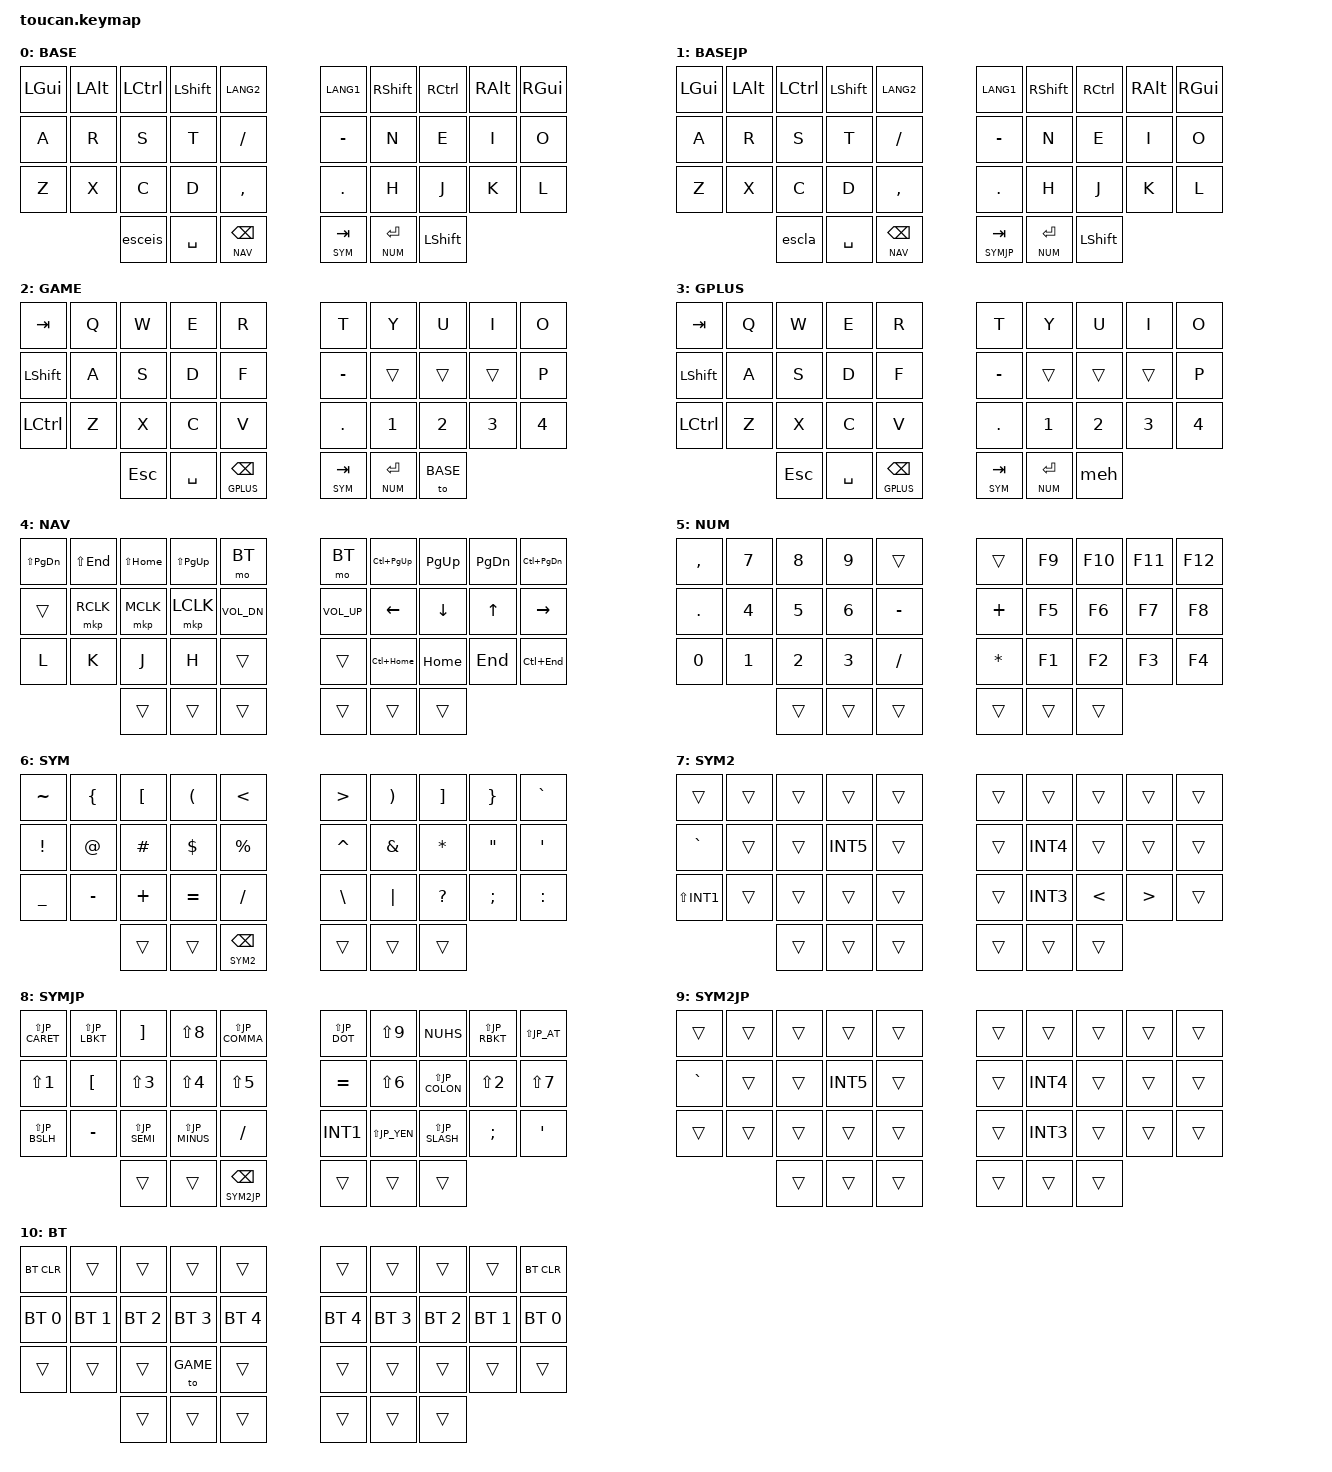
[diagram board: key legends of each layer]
#include <behaviors.dtsi>
#include <dt-bindings/zmk/keys.h>
#include <dt-bindings/zmk/bt.h>
#include <dt-bindings/zmk/outputs.h>
#include <dt-bindings/zmk/pointing.h>

#define BASE   0
#define BASEJP 1
#define GAME   2
#define GPLUS  3
#define NAV    4
#define NUM    5
#define SYM    6
#define SYM2   7
#define SYMJP  8
#define SYM2JP 9
#define BT    10

#define JP_ZKHK  GRAVE        // Zenkaku ↔ Hankaku ↔ Kanji (半角 ↔ 全角 ↔ 漢字)
#define JP_MINUS MINUS        // -
#define JP_CARET EQUAL        // ^
#define JP_YEN   INT3         // ¥
#define JP_AT    LBKT         // @
#define JP_LBKT  RBKT         // [
#define JP_EISU  CAPS         // Eisū (英数)
#define JP_SEMI  SEMI         // ;
#define JP_COLON SQT          // :
#define JP_RBKT  NUHS         // ]
#define JP_COMMA COMMA        // ,
#define JP_DOT   DOT          // .
#define JP_SLASH SLASH        // /
#define JP_BSLH  INT1         // (backslash)
#define JP_MHEN  INT5         // Muhenkan (無変換)
#define JP_HENK  INT4         // Henkan (変換)
#define JP_KANA  INT2         // Katakana ↔ Hiragana ↔ Rōmaji (カタカナ ↔ ひらがな ↔ ローマ字)
#define JP_EXCL  LS(N1)       // !
#define JP_DQT   LS(N2)       // "
#define JP_HASH  LS(N3)       // #
#define JP_DLLR  LS(N4)       // $
#define JP_PRCNT LS(N5)       // %
#define JP_AMPS  LS(N6)       // &
#define JP_SQT   LS(N7)       // '
#define JP_LPAR  LS(N8)       // (
#define JP_RPAR  LS(N9)       // )
#define JP_EQUAL LS(JP_MINUS) // =
#define JP_TILDE LS(JP_CARET) // ~
#define JP_PIPE  LS(JP_YEN)   // |
#define JP_GRAVE LS(JP_AT)    // `
#define JP_LBRC  LS(JP_LBKT)  // {
#define JP_CAPS  LS(JP_EISU)  // Caps Lock
#define JP_PLUS  LS(JP_SEMI)  // +
#define JP_ASTRK LS(JP_COLON) // *
#define JP_RBRC  LS(JP_RBKT)  // }
#define JP_LT    LS(JP_COMMA) // <
#define JP_RT    LS(JP_DOT)   // >
#define JP_QMARK LS(JP_SLASH) // ?
#define JP_UNDER LS(JP_BSLH)  // _

#define COMBO(NAME, BIND, LAYER, TIMEOUT, KEYPOS) \
  combo_##NAME { \
    layers = <LAYER>; \
    timeout-ms = <TIMEOUT>; \
    key-positions = <KEYPOS>; \
    bindings = <BIND>; \
  };

&lt {
    flavor = "tap-preferred";
    tapping-term-ms = <200>;
    quick-tap-ms = <0>;
};

&sl {
  release-after-ms = <2000>;
};

/ {
    behaviors {
        hml: homerow_mods_left {
            compatible = "zmk,behavior-hold-tap";
            #binding-cells = <2>;
            tapping-term-ms = <240>;
            quick_tap_ms = <0>;
            flavor = "balanced";
            bindings = <&kp>, <&kp>;
            hold-trigger-key-positions = <4 5 6 7 12 13 14 15 18 19>;
            hold-trigger-on-release;
        };
        hmr: homerow_mods_right {
            compatible = "zmk,behavior-hold-tap";
            #binding-cells = <2>;
            tapping-term-ms = <240>;
            quick_tap_ms = <0>;
            flavor = "balanced";
            bindings = <&kp>, <&kp>;
            hold-trigger-key-positions = <0 1 2 3 8 9 10 11 16 17>;
            hold-trigger-on-release;
        };
    };

    
     macros {
             meh: meh {
         	    label = "meh";
         	    compatible = "zmk,behavior-macro";
         	    #binding-cells = <0>;
         	    bindings
         	    	= <&macro_press   &sk LS(LC(LALT))>
         		, <&macro_pause_for_release>
         		, <&macro_release &sk LS(LC(LALT))>
         		;
             };
 
             hyper: hyper {
         	    label = "hyper";
         	    compatible = "zmk,behavior-macro";
         	    #binding-cells = <0>;
         	    bindings
         	    	= <&macro_press   &sk LS(LA(LC(LGUI)))>
         		, <&macro_pause_for_release>
         		, <&macro_release &sk LS(LA(LC(LGUI)))>
         		;
             };

             // macro tap esc hold esc and lang2
             escla: escla {
               label = "escla";
               compatible = "zmk,behavior-macro";
               #binding-cells = <0>;
               bindings
                = <&macro_tap &kp ESC>
                , <&macro_tap &kp LANG2>
                ;
             };

             // macro tap esc hold esc and eisu
             esceis: esceis {
               label = "esceis";
               compatible = "zmk,behavior-macro";
               #binding-cells = <0>;
               bindings
                = <&macro_tap &kp ESC>
                , <&macro_tap &kp JP_EISU>
                ;
             };
             // macro for Ctrl + Shift
             mcs: mcs {
               label = "mcs";
               compatible = "zmk,behavior-macro";
               #binding-cells = <0>;
               bindings
                = <&macro_press &sk LS(LCTRL)>
                , <&macro_pause_for_release>
                , <&macro_release &sk LS(LCTRL)>
                ;
             };
             
             // macro for Ctrl + Alt
             mca: mca {
               label = "mca";
               compatible = "zmk,behavior-macro";
               #binding-cells = <0>;
               bindings
                = <&macro_press &sk LA(LCTRL)>
                , <&macro_pause_for_release>
               , <&macro_release &sk LA(LCTRL)>
                ;
             };

             // macro for Ctrl + Gui
             mcg: mcg {
               label = "mcg";
               compatible = "zmk,behavior-macro";
               #binding-cells = <0>;
               bindings
                = <&macro_press &sk LG(LCTRL)>
                , <&macro_pause_for_release>
                , <&macro_release &sk LG(LCTRL)>
                ;
             };

             // macro for Shift + Alt

             msa: msa {
               label = "msa";
               compatible = "zmk,behavior-macro";
               #binding-cells = <0>;
               bindings
                = <&macro_press &sk LA(LSHFT)>
                , <&macro_pause_for_release>
                , <&macro_release &sk LA(LSHFT)>
                ;
             };

             // macro for Shift + Gui

             msg: msg {
               label = "msg";
               compatible = "zmk,behavior-macro";
               #binding-cells = <0>;
               bindings
                = <&macro_press &sk LG(LSHFT)>
                , <&macro_pause_for_release>
                , <&macro_release &sk LG(LSHFT)>
                ;
             };

             yo: yo {
               label = "yo";
               compatible = "zmk,behavior-macro";
               #binding-cells = <0>;
               bindings
                = <&macro_tap &kp Y>
                , <&macro_tap &kp O>
                ;
             };

             ou: ou {
               label = "ou";
               compatible = "zmk,behavior-macro";
               #binding-cells = <0>;
               bindings
                = <&macro_tap &kp O>
                , <&macro_tap &kp U>
                ;
             };

             you: you {
               label = "you";
               compatible = "zmk,behavior-macro";
               #binding-cells = <0>;
               bindings
                = <&macro_tap &kp Y>
                , <&macro_tap &kp O>
                , <&macro_tap &kp U>
                ;
             };

             yu: yu {
               label = "yu";
               compatible = "zmk,behavior-macro";
               #binding-cells = <0>;
               bindings
                = <&macro_tap &kp Y>
                , <&macro_tap &kp U>
                ;
             };

             yuu: yuu {
               label = "yuu";
               compatible = "zmk,behavior-macro";
               #binding-cells = <0>;
               bindings
                = <&macro_tap &kp Y>
                , <&macro_tap &kp U>
                , <&macro_tap &kp U>
                ;
             };
     };

     combos {
       compatible = "zmk,combos";

       COMBO(yu,        &yu,            0 1, 45, 10 11)
       COMBO(yuu,       &yuu,           0 1, 35, 10 11 12)
       COMBO(hyper,     &hyper,         0 1, 35, 10 11 12 13)
       COMBO(Q,         &kp Q,          0 1, 55, 10 20)
       COMBO(F,         &kp F,          0 1, 45, 11 12)
       COMBO(W,         &kp W,          0 1, 55, 11 21)
       COMBO(P,         &kp P,          0 1, 35, 12 13)
       COMBO(G,         &kp G,          0 1, 50, 13 23)
       COMBO(ESC,       &kp ESC,        0 1, 45, 20 21)
       COMBO(BASEJP,    &to BASEJP,       0, 35, 20 21 22 23)
       COMBO(JP_CAPS,   &kp JP_CAPS,      1, 45, 20 23)
       COMBO(B,         &kp B,          0 1, 60, 21 22)
       COMBO(V,         &kp V,          0 1, 60, 22 23)

       COMBO(F17,       &kp F17,          5, 50,  6 16)
       COMBO(F18,       &kp F18,          5, 50,  7 17)
       COMBO(F19,       &kp F19,          5, 50,  8 18)
       COMBO(F20,       &kp F20,          5, 50,  9 19)
       COMBO(U,         &kp U,          0 1, 35, 16 17)
       COMBO(mcs,       &mcs,             5, 45, 16 17)        // stickey key Shift+Ctrl in num_layer
       COMBO(ou,        &ou,            0 1, 55, 16 17 18)
       COMBO(rmeh,      &meh,           0 1, 40, 16 17 18 34)  // stickey key Shift+Ctrl+Alt
       // COMBO(meh,       &meh,           0 1, 35, 16 17 18 19)  // stickey key Shift+Ctrl+Alt
       COMBO(SKCS,      &mcs,           0 1, 55, 16 17 34)     // stickey key Shift+Ctrl
       COMBO(F13,       &kp F13,          5, 50, 16 26)
       COMBO(SKSH,      &sk LSHFT,      0 1, 55, 16 34)        // stickey key Shift
       COMBO(SKSA,      &msa,           0 1, 55, 16 18 34)     // stickey key Shift+Alt
       COMBO(SKSG,      &msg,           0 1, 55, 16 19 34)     // stickey key Shift+Gui
       COMBO(Y,         &kp Y,          0 1, 65, 17 18)
       COMBO(you,       &you,           0 1, 55, 17 18 19)
       COMBO(SKCA,      &mca,           0 1, 55, 17 18 34)     // stickey key Ctrl+Alt
       COMBO(SKCG,      &mcg,           0 1, 55, 17 19 34)     // stickey key Ctrl+Gui
       COMBO(F14,       &kp F14,          5, 50, 17 27)
       COMBO(SKCT,      &sk LCTRL,      0 1, 45, 17 34)        // stickey key Ctrl
       COMBO(yo,        &yo,            0 1, 55, 18 19)
       COMBO(F15,       &kp F15,          5, 50, 18 28)
       COMBO(SKAL,      &sk LALT,       0 1, 50, 18 34)        // stickey key Alt
       COMBO(F16,       &kp F16,          5, 50, 19 29)
       COMBO(SKGU,      &sk LGUI,       0 1, 50, 19 34)        // stickey key Gui
       COMBO(M,         &kp M,          0 1, 50, 26 27)
       COMBO(BASE,      &to BASE,         1, 35, 26 27 28 29)
       COMBO(DEL,       &kp DEL,        0 1, 55, 26 29)
       COMBO(caps_word, &caps_word,     0 1, 55, 28 29)

       COMBO(bothmeh,   &meh,           0 1, 55, 31 34)
       COMBO(JP_ZKHK,   &kp JP_ZKHK,    0 1, 55, 32 33)

     };

  keymap {
    compatible = "zmk,keymap";
    // ╭─────────────┬─────────────┬─────────────┬──────────────┬────────────╮   ╭─────────────┬──────────────┬────────────┬─────────────┬─────────────┐
    //    0             1             2             3              4                5             6              7            8             9
    // ├─────────────┼─────────────┼─────────────┼──────────────┬────────────┤   ├─────────────┼──────────────┬────────────┼─────────────┼─────────────┤
    //    10            11            12            13             14               15            16             17           18            19
    // ├─────────────┼─────────────┼─────────────┼──────────────┬────────────┤   ├─────────────┼──────────────┬────────────┼─────────────┼─────────────┤
    //    20            21            22            23             24               25            26             27           28            29
    // ├─────────────┼─────────────┼─────────────┼──────────────┬────────────┤   ├─────────────┼──────────────┬────────────┼─────────────┼─────────────┤
    //                             ╭─────────────┬──────────────┬────────────╮   ╭─────────────┬──────────────┬────────────╮
    //                                30            31             32              33            34             35
    //                             ╰─────────────┴──────────────┴────────────╯   ╰─────────────┴──────────────┴────────────╯


    base_layer {
      display-name = "BASE";
      bindings = <

      // ╭─────────────────┬─────────────────┬─────────────────┬────────────────┬─────────────────╮ ╭─────────────────┬─────────────────┬─────────────────┬────────────────┬─────────────────╮
          &kp LGUI          &kp LALT          &kp LCTRL         &kp LSHFT        &kp LANG2           &kp LANG1         &kp RSHFT         &kp RCTRL         &kp RALT         &kp RGUI
      // ├─────────────────┼─────────────────┼─────────────────┬────────────────┼─────────────────┤ ├─────────────────┼─────────────────┼─────────────────┬────────────────┼─────────────────┤
          &kp A             &kp R             &kp S             &kp T            &kp FSLH            &kp MINUS         &kp N             &kp E             &kp I            &kp O
      // ├─────────────────┼─────────────────┼─────────────────┬────────────────┼─────────────────┤ ├─────────────────┼─────────────────┼─────────────────┬────────────────┼─────────────────┤
          &kp Z             &kp X             &kp C             &kp D            &kp COMMA           &kp DOT           &kp H             &kp J             &kp K            &kp L
      // ├─────────────────┼─────────────────┼─────────────────┬────────────────┼─────────────────┤ ├─────────────────┼─────────────────┼─────────────────┬────────────────┼─────────────────┤
      //                        ╭─────────────────────┬─────────────────────┬─────────────────────╮ ╭─────────────────────┬─────────────────────┬─────────────────────╮
                                 &esceis               &kp SPACE             &lt NAV BSPC            &lt SYM TAB           &lt NUM ENTER         &kp LSHFT
      //                        ╰─────────────────────┴─────────────────────┴─────────────────────╯ ╰─────────────────────┴─────────────────────┴─────────────────────╯
      >;
    };
    basejp_layer {
      display-name = "BASEJP";
      bindings = <

      // ╭─────────────────┬─────────────────┬─────────────────┬────────────────┬─────────────────╮ ╭─────────────────┬─────────────────┬─────────────────┬────────────────┬─────────────────╮
          &kp LGUI          &kp LALT          &kp LCTRL         &kp LSHFT        &kp LANG2           &kp LANG1         &kp RSHFT         &kp RCTRL         &kp RALT         &kp RGUI
      // ├─────────────────┼─────────────────┼─────────────────┬────────────────┼─────────────────┤ ├─────────────────┼─────────────────┼─────────────────┬────────────────┼─────────────────┤
          &kp A             &kp R             &kp S             &kp T            &kp FSLH            &kp MINUS         &kp N             &kp E             &kp I            &kp O
      // ├─────────────────┼─────────────────┼─────────────────┬────────────────┼─────────────────┤ ├─────────────────┼─────────────────┼─────────────────┬────────────────┼─────────────────┤
          &kp Z             &kp X             &kp C             &kp D            &kp COMMA           &kp DOT           &kp H             &kp J             &kp K            &kp L
      // ├─────────────────┼─────────────────┼─────────────────┬────────────────┼─────────────────┤ ├─────────────────┼─────────────────┼─────────────────┬────────────────┼─────────────────┤
      //                        ╭─────────────────────┬─────────────────────┬─────────────────────╮ ╭─────────────────────┬─────────────────────┬─────────────────────╮
                                 &escla                &kp SPACE             &lt NAV BSPC            &lt SYMJP TAB         &lt NUM ENTER         &kp LSHFT
      //                        ╰─────────────────────┴─────────────────────┴─────────────────────╯ ╰─────────────────────┴─────────────────────┴─────────────────────╯
      >;
    };
    game_layer {
      display-name = "GAME";
      bindings = <

      // ╭─────────────────┬─────────────────┬─────────────────┬────────────────┬─────────────────╮ ╭─────────────────┬─────────────────┬─────────────────┬────────────────┬─────────────────╮
          &kp TAB           &kp Q             &kp W             &kp E            &kp R               &kp T             &kp Y             &kp U             &kp I            &kp O 
      // ├─────────────────┼─────────────────┼─────────────────┬────────────────┼─────────────────┤ ├─────────────────┼─────────────────┼─────────────────┬────────────────┼─────────────────┤
          &kp LSHFT         &kp A             &kp S             &kp D            &kp F               &kp MINUS         &trans            &trans            &trans           &kp P
      // ├─────────────────┼─────────────────┼─────────────────┬────────────────┼─────────────────┤ ├─────────────────┼─────────────────┼─────────────────┬────────────────┼─────────────────┤
          &kp LCTRL         &kp Z             &kp X             &kp C            &kp V               &kp DOT           &kp N1            &kp N2            &kp N3           &kp N4
      // ├─────────────────┼─────────────────┼─────────────────┬────────────────┼─────────────────┤ ├─────────────────┼─────────────────┼─────────────────┬────────────────┼─────────────────┤
      //                        ╭─────────────────────┬─────────────────────┬─────────────────────╮ ╭─────────────────────┬─────────────────────┬─────────────────────╮
                                 &kp ESC               &kp SPACE             &lt GPLUS BSPC          &lt SYM TAB           &lt NUM ENTER         &to BASE
      //                        ╰─────────────────────┴─────────────────────┴─────────────────────╯ ╰─────────────────────┴─────────────────────┴─────────────────────╯
      >;
    };
    gplus_layer {
      display-name = "GPLUS";
      bindings = <

      // ╭─────────────────┬─────────────────┬─────────────────┬────────────────┬─────────────────╮ ╭─────────────────┬─────────────────┬─────────────────┬────────────────┬─────────────────╮
          &kp TAB           &kp Q             &kp W             &kp E            &kp R               &kp T             &kp Y             &kp U             &kp I            &kp O
      // ├─────────────────┼─────────────────┼─────────────────┬────────────────┼─────────────────┤ ├─────────────────┼─────────────────┼─────────────────┬────────────────┼─────────────────┤
          &kp LSHFT         &kp A             &kp S             &kp D            &kp F               &kp MINUS         &trans            &trans            &trans           &kp P
      // ├─────────────────┼─────────────────┼─────────────────┬────────────────┼─────────────────┤ ├─────────────────┼─────────────────┼─────────────────┬────────────────┼─────────────────┤
          &kp LCTRL         &kp Z             &kp X             &kp C            &kp V               &kp DOT           &kp N1            &kp N2            &kp N3           &kp N4
      // ├─────────────────┼─────────────────┼─────────────────┬────────────────┼─────────────────┤ ├─────────────────┼─────────────────┼─────────────────┬────────────────┼─────────────────┤
      //                        ╭─────────────────────┬─────────────────────┬─────────────────────╮ ╭─────────────────────┬─────────────────────┬─────────────────────╮
                                 &kp ESC               &kp SPACE             &lt GPLUS BSPC          &lt SYM TAB           &lt NUM ENTER         &meh
      //                        ╰─────────────────────┴─────────────────────┴─────────────────────╯ ╰─────────────────────┴─────────────────────┴─────────────────────╯
      >;
    };
    nav_layer {
      display-name = "NAV";
      bindings = <

      // ╭─────────────────┬─────────────────┬─────────────────┬────────────────┬─────────────────╮ ╭─────────────────┬─────────────────┬─────────────────┬────────────────┬─────────────────╮
          &kp LS(PG_DN)     &kp LS(END)       &kp LS(HOME)      &kp LS(PG_UP)    &mo BT              &mo BT            &kp LC(PG_UP)     &kp PG_UP         &kp PG_DN        &kp LC(PG_DN)
      // ├─────────────────┼─────────────────┼─────────────────┬────────────────┼─────────────────┤ ├─────────────────┼─────────────────┼─────────────────┬────────────────┼─────────────────┤
          &trans            &mkp RCLK         &mkp MCLK         &mkp LCLK        &kp C_VOL_DN        &kp C_VOL_UP      &kp LEFT          &kp DOWN          &kp UP           &kp RIGHT
      // ├─────────────────┼─────────────────┼─────────────────┬────────────────┼─────────────────┤ ├─────────────────┼─────────────────┼─────────────────┬────────────────┼─────────────────┤
          &kp L             &kp K             &kp J             &kp H            &trans              &trans            &kp LC(HOME)      &kp HOME          &kp END          &kp LC(END)
      // ├─────────────────┼─────────────────┼─────────────────┬────────────────┼─────────────────┤ ├─────────────────┼─────────────────┼─────────────────┬────────────────┼─────────────────┤
      //                        ╭─────────────────────┬─────────────────────┬─────────────────────╮ ╭─────────────────────┬─────────────────────┬─────────────────────╮
                                 &trans                &trans                &trans                  &trans                &trans                &trans
      //                        ╰─────────────────────┴─────────────────────┴─────────────────────╯ ╰─────────────────────┴─────────────────────┴─────────────────────╯
      >;
    };
    num_layer {
      display-name = "NUM";
      bindings = <

      // ╭─────────────────┬─────────────────┬─────────────────┬────────────────┬─────────────────╮ ╭─────────────────┬─────────────────┬─────────────────┬────────────────┬─────────────────╮
          &kp COMMA         &kp N7            &kp N8            &kp N9           &trans              &trans            &kp F9            &kp F10           &kp F11          &kp F12
      // ├─────────────────┼─────────────────┼─────────────────┬────────────────┼─────────────────┤ ├─────────────────┼─────────────────┼─────────────────┬────────────────┼─────────────────┤
          &kp DOT           &kp N4            &kp N5            &kp N6           &kp MINUS           &kp PLUS          &kp F5            &kp F6            &kp F7           &kp F8
      // ├─────────────────┼─────────────────┼─────────────────┬────────────────┼─────────────────┤ ├─────────────────┼─────────────────┼─────────────────┬────────────────┼─────────────────┤
          &kp N0            &kp N1            &kp N2            &kp N3           &kp FSLH            &kp STAR          &kp F1            &kp F2            &kp F3           &kp F4
      // ├─────────────────┼─────────────────┼─────────────────┬────────────────┼─────────────────┤ ├─────────────────┼─────────────────┼─────────────────┬────────────────┼─────────────────┤
      //                        ╭─────────────────────┬─────────────────────┬─────────────────────╮ ╭─────────────────────┬─────────────────────┬─────────────────────╮
                                 &trans                &trans                &trans                  &trans                &trans                &trans
      //                        ╰─────────────────────┴─────────────────────┴─────────────────────╯ ╰─────────────────────┴─────────────────────┴─────────────────────╯
      >;
    };
    sym_layer {
      display-name = "SYM";
      bindings = <

      // ╭─────────────────┬─────────────────┬─────────────────┬────────────────┬─────────────────╮ ╭─────────────────┬─────────────────┬─────────────────┬────────────────┬─────────────────╮
          &kp TILDE         &kp LBRC          &kp LBKT          &kp LPAR         &kp LT              &kp GT            &kp RPAR          &kp RBKT          &kp RBRC         &kp GRAVE
      // ├─────────────────┼─────────────────┼─────────────────┬────────────────┼─────────────────┤ ├─────────────────┼─────────────────┼─────────────────┬────────────────┼─────────────────┤
          &kp EXCL          &kp AT            &kp HASH          &kp DLLR         &kp PRCNT           &kp CARET         &kp AMPS          &kp STAR          &kp DQT          &kp SQT
      // ├─────────────────┼─────────────────┼─────────────────┬────────────────┼─────────────────┤ ├─────────────────┼─────────────────┼─────────────────┬────────────────┼─────────────────┤
          &kp UNDER         &kp MINUS         &kp PLUS          &kp EQUAL        &kp FSLH            &kp BSLH          &kp PIPE          &kp QMARK         &kp SEMI         &kp COLON
      // ├─────────────────┼─────────────────┼─────────────────┬────────────────┼─────────────────┤ ├─────────────────┼─────────────────┼─────────────────┬────────────────┼─────────────────┤
      //                        ╭─────────────────────┬─────────────────────┬─────────────────────╮ ╭─────────────────────┬─────────────────────┬─────────────────────╮
                                 &trans                &trans                &lt SYM2 BSPC           &trans                &trans                &trans
      //                        ╰─────────────────────┴─────────────────────┴─────────────────────╯ ╰─────────────────────┴─────────────────────┴─────────────────────╯
      >;
    };
    sym2_layer {
      display-name = "SYM2";
      bindings = <

      // ╭─────────────────┬─────────────────┬─────────────────┬────────────────┬─────────────────╮ ╭─────────────────┬─────────────────┬─────────────────┬────────────────┬─────────────────╮
          &trans            &trans            &trans            &trans           &trans              &trans            &trans            &trans            &trans           &trans    
      // ├─────────────────┼─────────────────┼─────────────────┬────────────────┼─────────────────┤ ├─────────────────┼─────────────────┼─────────────────┬────────────────┼─────────────────┤
          &kp GRAVE         &trans            &trans            &kp INT5         &trans              &trans            &kp INT4          &trans            &trans           &trans
      // ├─────────────────┼─────────────────┼─────────────────┬────────────────┼─────────────────┤ ├─────────────────┼─────────────────┼─────────────────┬────────────────┼─────────────────┤
          &kp LS(INT1)      &trans            &trans            &trans           &trans              &trans            &kp INT3          &kp LESS_THAN     &kp GREATER_THAN &trans
      // ├─────────────────┼─────────────────┼─────────────────┬────────────────┼─────────────────┤ ├─────────────────┼─────────────────┼─────────────────┬────────────────┼─────────────────┤
      //                        ╭─────────────────────┬─────────────────────┬─────────────────────╮ ╭─────────────────────┬─────────────────────┬─────────────────────╮
                                 &trans                &trans                &trans                  &trans                &trans                &trans
      //                        ╰─────────────────────┴─────────────────────┴─────────────────────╯ ╰─────────────────────┴─────────────────────┴─────────────────────╯
      >;
    };
    symjp_layer {
      display-name = "SYMJP";
      bindings = <

      // ╭─────────────────┬─────────────────┬─────────────────┬────────────────┬─────────────────╮ ╭─────────────────┬─────────────────┬─────────────────┬────────────────┬─────────────────╮
          &kp JP_TILDE      &kp JP_LBRC       &kp JP_LBKT       &kp JP_LPAR      &kp JP_LT           &kp JP_RT         &kp JP_RPAR       &kp JP_RBKT       &kp JP_RBRC      &kp JP_GRAVE
      // ├─────────────────┼─────────────────┼─────────────────┬────────────────┼─────────────────┤ ├─────────────────┼─────────────────┼─────────────────┬────────────────┼─────────────────┤
          &kp JP_EXCL       &kp JP_AT         &kp JP_HASH       &kp JP_DLLR      &kp JP_PRCNT        &kp JP_CARET      &kp JP_AMPS       &kp JP_ASTRK      &kp JP_DQT       &kp JP_SQT
      // ├─────────────────┼─────────────────┼─────────────────┬────────────────┼─────────────────┤ ├─────────────────┼─────────────────┼─────────────────┬────────────────┼─────────────────┤
          &kp JP_UNDER      &kp JP_MINUS      &kp JP_PLUS       &kp JP_EQUAL     &kp JP_SLASH        &kp JP_BSLH       &kp JP_PIPE       &kp JP_QMARK      &kp JP_SEMI      &kp JP_COLON
      // ├─────────────────┼─────────────────┼─────────────────┬────────────────┼─────────────────┤ ├─────────────────┼─────────────────┼─────────────────┬────────────────┼─────────────────┤
      //                        ╭─────────────────────┬─────────────────────┬─────────────────────╮ ╭─────────────────────┬─────────────────────┬─────────────────────╮
                                 &trans                &trans                &lt SYM2JP BSPC         &trans                &trans                &trans
      //                        ╰─────────────────────┴─────────────────────┴─────────────────────╯ ╰─────────────────────┴─────────────────────┴─────────────────────╯
      >;
    };
    sym2jp_layer {
      display-name = "SYM2JP";
      bindings = <

      // ╭─────────────────┬─────────────────┬─────────────────┬────────────────┬─────────────────╮ ╭─────────────────┬─────────────────┬─────────────────┬────────────────┬─────────────────╮
          &trans            &trans            &trans            &trans           &trans              &trans            &trans            &trans            &trans           &trans    
      // ├─────────────────┼─────────────────┼─────────────────┬────────────────┼─────────────────┤ ├─────────────────┼─────────────────┼─────────────────┬────────────────┼─────────────────┤
          &kp JP_ZKHK       &trans            &trans            &kp JP_MHEN      &trans              &trans            &kp JP_HENK       &trans            &trans           &trans
      // ├─────────────────┼─────────────────┼─────────────────┬────────────────┼─────────────────┤ ├─────────────────┼─────────────────┼─────────────────┬────────────────┼─────────────────┤
          &trans            &trans            &trans            &trans           &trans              &trans            &kp JP_YEN        &trans            &trans           &trans
      // ├─────────────────┼─────────────────┼─────────────────┬────────────────┼─────────────────┤ ├─────────────────┼─────────────────┼─────────────────┬────────────────┼─────────────────┤
      //                        ╭─────────────────────┬─────────────────────┬─────────────────────╮ ╭─────────────────────┬─────────────────────┬─────────────────────╮
                                 &trans                &trans                &trans                  &trans                &trans                &trans
      //                        ╰─────────────────────┴─────────────────────┴─────────────────────╯ ╰─────────────────────┴─────────────────────┴─────────────────────╯
      >;
    };
    bt_layer {
      display-name = "BT";
      bindings = <

      // ╭─────────────────┬─────────────────┬─────────────────┬────────────────┬─────────────────╮ ╭─────────────────┬─────────────────┬─────────────────┬────────────────┬─────────────────╮
          &bt BT_CLR        &trans            &trans            &trans           &trans              &trans            &trans            &trans            &trans           &bt BT_CLR    
      // ├─────────────────┼─────────────────┼─────────────────┬────────────────┼─────────────────┤ ├─────────────────┼─────────────────┼─────────────────┬────────────────┼─────────────────┤
          &bt BT_SEL 0      &bt BT_SEL 1      &bt BT_SEL 2      &bt BT_SEL 3     &bt BT_SEL 4        &bt BT_SEL 4      &bt BT_SEL 3      &bt BT_SEL 2      &bt BT_SEL 1     &bt BT_SEL 0
      // ├─────────────────┼─────────────────┼─────────────────┬────────────────┼─────────────────┤ ├─────────────────┼─────────────────┼─────────────────┬────────────────┼─────────────────┤
          &trans            &trans            &trans            &to GAME         &trans              &trans            &trans            &trans            &trans           &trans
      // ├─────────────────┼─────────────────┼─────────────────┬────────────────┼─────────────────┤ ├─────────────────┼─────────────────┼─────────────────┬────────────────┼─────────────────┤
      //                        ╭─────────────────────┬─────────────────────┬─────────────────────╮ ╭─────────────────────┬─────────────────────┬─────────────────────╮
                                 &trans                &trans                &trans                  &trans                &trans                &trans
      //                        ╰─────────────────────┴─────────────────────┴─────────────────────╯ ╰─────────────────────┴─────────────────────┴─────────────────────╯
      >;
    };
  };
};

